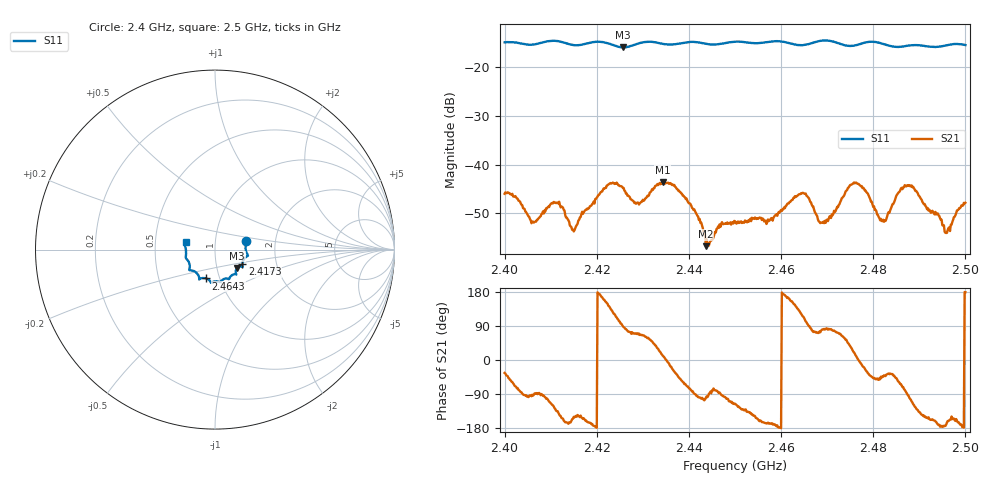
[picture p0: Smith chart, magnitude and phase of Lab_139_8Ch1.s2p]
# Hz S RI R 50
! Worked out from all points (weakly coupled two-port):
!   601 points, 2.4 GHz to 2.5 GHz, reference 50 ohm
!   highest |S21| = -43.61 dB at 2.4343 GHz (marker M1); lowest = -56.7 dB at 2.4437 GHz (marker M2)
!   lowest |S11| = -15.9 dB at 2.4257 GHz (marker M3), VSWR 1.38, Z = 62.5 - j13.1 ohm
!   |S11| at or under -10 dB: start of sweep to end of sweep
!   S12 and S22 are empty: the file has one direction only
!   S11 on the Smith chart (normalised r, x): 2.4 GHz: 1.41, +0.14; 2.4173 GHz: 1.34, -0.23; 2.4643 GHz: 0.86, -0.28; 2.5 GHz: 0.72, +0.06
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2.4e9  0.1733 0.0495  0.00416 -0.00282  0 0  0 0
2.406167e9  0.1708 -0.000577  -0.000181 -0.0026  0 0  0 0
2.410667e9  0.1839 -0.034  -0.00226 -0.00347  0 0  0 0
2.414833e9  0.1603 -0.054  -0.00195 -0.000917  0 0  0 0
2.416667e9  0.1529 -0.0744  -0.00273 -0.0015  0 0  0 0
2.417333e9  0.1523 -0.0818  -0.00306 -0.00133  0 0  0 0
2.425667e9  0.123 -0.1021  0.000105 0.00576  0 0  0 0
2.429e9  0.116 -0.1312  0.00155 0.00376  0 0  0 0
2.433333e9  0.113 -0.137  0.00539 0.00302  0 0  0 0
2.434333e9  0.1067 -0.1371  0.00648 0.00128  0 0  0 0
2.44e9  0.0797 -0.1631  0.00106 -0.00387  0 0  0 0
2.443667e9  0.0657 -0.1609  -0.000254 -0.00143  0 0  0 0
2.45e9  0.0293 -0.1806  -0.00113 -0.00237  0 0  0 0
2.464333e9  -0.0499 -0.1606  -0.0027 0.00431  0 0  0 0
2.466667e9  -0.0759 -0.1597  0.000744 0.0038  0 0  0 0
2.469667e9  -0.0879 -0.1665  0.000389 0.00249  0 0  0 0
2.476167e9  -0.1182 -0.1193  0.00639 0.00142  0 0  0 0
2.481833e9  -0.1414 -0.1038  0.00183 -0.00191  0 0  0 0
2.483333e9  -0.1407 -0.0899  0.00264 -0.0019  0 0  0 0
2.487333e9  -0.1568 -0.0545  0.000134 -0.00612  0 0  0 0
2.496e9  -0.167 0.0193  -0.00192 -0.000523  0 0  0 0
2.5e9  -0.1636 0.0422  -0.00406 7.88e-05  0 0  0 0
